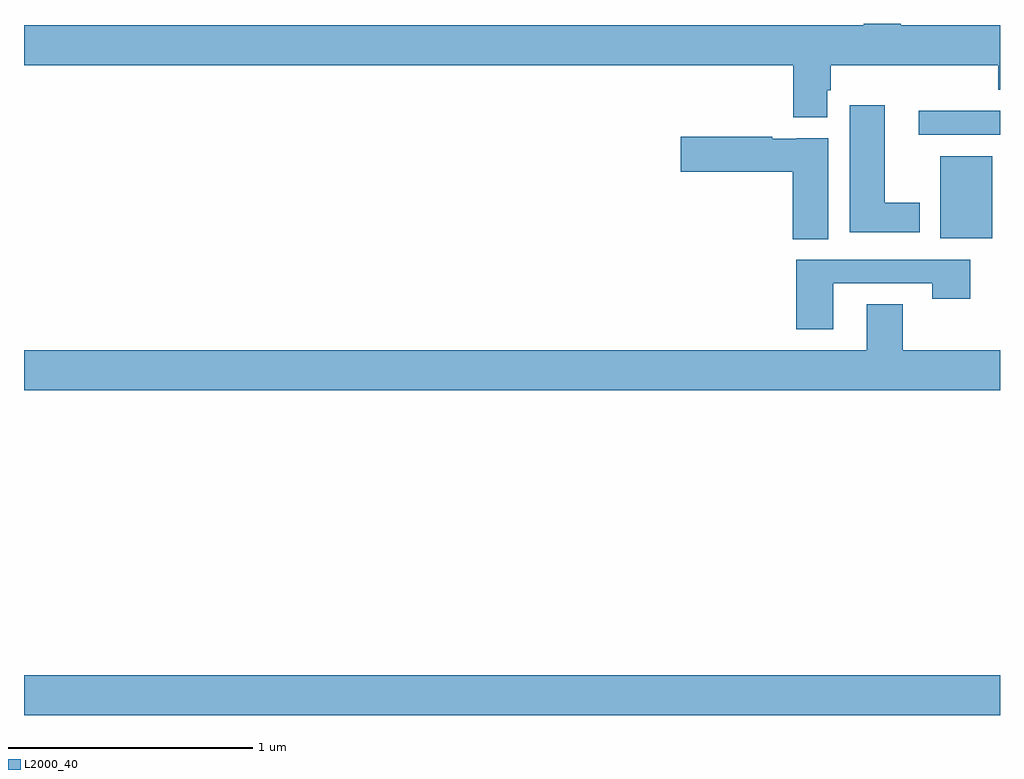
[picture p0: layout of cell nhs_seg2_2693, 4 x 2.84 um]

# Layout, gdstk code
import gdstk
lib = gdstk.Library(unit=1e-6, precision=1e-09)
def R(c, l, rs):  # rectangles x0, y0, x1, y1
    for r in rs: c.add(gdstk.rectangle(r[:2], r[2:], *l))
def P(c, l, *ps):  # polygons
    for p in ps: c.add(gdstk.Polygon(p, *l))
L2000_40 = (2000, 40)

nhs_seg2_2693 = lib.new_cell('nhs_seg2_2693')
R(nhs_seg2_2693, L2000_40, [(251,652.964,255,653.128), (254.756,654.92,254.968,655.255), (254.667,655.344,255,655.442)])
P(nhs_seg2_2693, L2000_40, [(254.293,655.527),(254.306,655.527),(254.306,655.628),(254.993,655.628),(254.993,655.529),(255,655.529),(255,655.792),(254.593,655.792),(254.593,655.8),(254.441,655.8),(254.441,655.792),(251,655.792),(251,655.628),(254.153,655.628),(254.153,655.415),(254.293,655.415)],
  [(254.671,655.066),(254.527,655.066),(254.527,655.465),(254.384,655.465),(254.384,654.944),(254.671,654.944)],
  [(254.296,655.33),(254.166,655.33),(254.166,655.327),(254.066,655.327),(254.066,655.335),(253.692,655.335),(253.692,655.193),(254.15,655.193),(254.15,654.916),(254.296,654.916)],
  [(254.317,654.735),(254.722,654.735),(254.722,654.672),(254.878,654.672),(254.878,654.831),(254.165,654.831),(254.165,654.546),(254.317,654.546)],
  [(255,654.46),(254.601,654.46),(254.601,654.65),(254.453,654.65),(254.453,654.46),(251,654.46),(251,654.296),(255,654.296)])

lib.write_gds('nhs_seg2_2693.gds')
